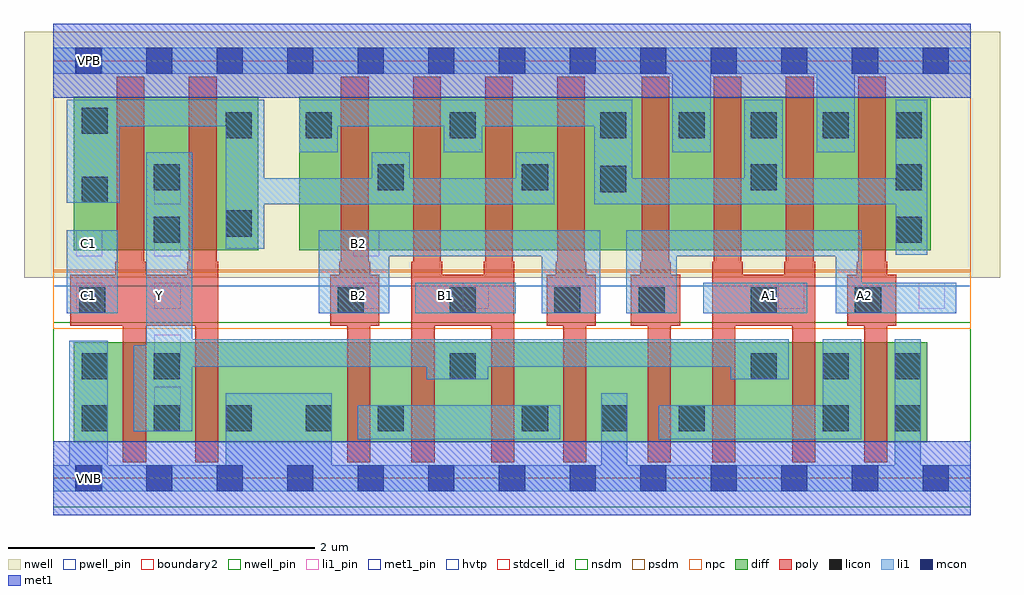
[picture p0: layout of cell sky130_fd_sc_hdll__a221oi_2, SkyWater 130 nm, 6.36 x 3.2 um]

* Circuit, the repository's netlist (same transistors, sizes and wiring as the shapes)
* Copyright 2020 The SkyWater PDK Authors
*
* Licensed under the Apache License, Version 2.0 (the "License");
* you may not use this file except in compliance with the License.
* You may obtain a copy of the License at
*
*     https://www.apache.org/licenses/LICENSE-2.0
*
* Unless required by applicable law or agreed to in writing, software
* distributed under the License is distributed on an "AS IS" BASIS,
* WITHOUT WARRANTIES OR CONDITIONS OF ANY KIND, either express or implied.
* See the License for the specific language governing permissions and
* limitations under the License.
*
* SPDX-License-Identifier: Apache-2.0

.SUBCKT sky130_fd_sc_hdll__a221oi_2 A1 A2 B1 B2 C1 VGND VNB VPB VPWR Y
*.PININFO A1:I A2:I B1:I B2:I C1:I VGND:I VNB:I VPB:I VPWR:I Y:O
MMPA0 pndA A1 VPWR VPB sky130_fd_pr__pfet_01v8_hvt m=2 w=1.0U l=0.18U mult=1 sa=0.265
+ sb=0.265 sd=0.28 area=0.063 perim=1.14
MMPA1 pndA A2 VPWR VPB sky130_fd_pr__pfet_01v8_hvt m=2 w=1.0U l=0.18U mult=1 sa=0.265
+ sb=0.265 sd=0.28 area=0.063 perim=1.14
MMPB0 pndB B1 pndA VPB sky130_fd_pr__pfet_01v8_hvt m=2 w=1.0U l=0.18U mult=1 sa=0.265
+ sb=0.265 sd=0.28 area=0.063 perim=1.14
MMPB1 pndB B2 pndA VPB sky130_fd_pr__pfet_01v8_hvt m=2 w=1.0U l=0.18U mult=1 sa=0.265
+ sb=0.265 sd=0.28 area=0.063 perim=1.14
MMPC0 Y C1 pndB VPB sky130_fd_pr__pfet_01v8_hvt m=2 w=1.0U l=0.18U mult=1 sa=0.265
+ sb=0.265 sd=0.28 area=0.063 perim=1.14
MMNA0 Y A1 sndA1 VNB sky130_fd_pr__nfet_01v8 m=2 w=0.65U l=0.15U mult=1 sa=0.265
+ sb=0.265 sd=0.28 area=0.063 perim=1.14
MMNA1 sndA1 A2 VGND VNB sky130_fd_pr__nfet_01v8 m=2 w=0.65U l=0.15U mult=1 sa=0.265
+ sb=0.265 sd=0.28 area=0.063 perim=1.14
MMNB0 Y B1 sndB1 VNB sky130_fd_pr__nfet_01v8 m=2 w=0.65U l=0.15U mult=1 sa=0.265
+ sb=0.265 sd=0.28 area=0.063 perim=1.14
MMNB1 sndB1 B2 VGND VNB sky130_fd_pr__nfet_01v8 m=2 w=0.65U l=0.15U mult=1 sa=0.265
+ sb=0.265 sd=0.28 area=0.063 perim=1.14
MMNC0 Y C1 VGND VNB sky130_fd_pr__nfet_01v8 m=2 w=0.65U l=0.15U mult=1 sa=0.265
+ sb=0.265 sd=0.28 area=0.063 perim=1.14
.ENDS sky130_fd_sc_hdll__a221oi_2

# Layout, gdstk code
import gdstk
lib = gdstk.Library(unit=1e-6, precision=1e-09)
def R(c, l, rs):  # rectangles x0, y0, x1, y1
    for r in rs: c.add(gdstk.rectangle(r[:2], r[2:], *l))
def A(c, l, x, y, w, h, nx, ny, dx, dy):  # array of equal rectangles
    R(c, l, [(x+i*dx, y+j*dy, x+i*dx+w, y+j*dy+h) for i in range(nx) for j in range(ny)])
def P(c, l, *ps):  # polygons
    for p in ps: c.add(gdstk.Polygon(p, *l))
nwell_pin = (64, 16)
nwell = (64, 20)
diff = (65, 20)
poly = (66, 20)
licon = (66, 44)
li1_pin = (67, 16)
li1 = (67, 20)
mcon = (67, 44)
met1_pin = (68, 16)
met1 = (68, 20)
hvtp = (78, 44)
stdcell_id = (81, 4)
nsdm = (93, 44)
psdm = (94, 20)
npc = (95, 20)
pwell_pin = (122, 16)
boundary2 = (236, 0)

sky130_fd_sc_hdll__a221o = lib.new_cell('sky130_fd_sc_hdll__a221oi_2')
R(sky130_fd_sc_hdll__a221o, nwell_pin, [(0.15,2.635,0.32,2.805)])
R(sky130_fd_sc_hdll__a221o, nwell, [(-0.19,1.305,6.17,2.91)])
R(sky130_fd_sc_hdll__a221o, diff, [(0.135,0.235,5.695,0.885), (0.135,1.485,1.335,2.485), (1.605,1.485,5.72,2.485)])
P(sky130_fd_sc_hdll__a221o, poly, [(1.075,1.41),(1.065,1.41),(1.065,2.615),(0.885,2.615),(0.885,1.41),(0.875,1.41),(0.875,1.325),(0.605,1.325),(0.605,1.41),(0.595,1.41),(0.595,2.615),(0.415,2.615),(0.415,1.41),(0.405,1.41),(0.405,1.325),(0.11,1.325),(0.11,0.995),(0.455,0.995),(0.455,0.105),(0.605,0.105),(0.605,0.995),(0.925,0.995),(0.925,0.105),(1.075,0.105)],
  [(2.125,1.325),(2.065,1.325),(2.065,1.41),(2.055,1.41),(2.055,2.615),(1.875,2.615),(1.875,1.41),(1.865,1.41),(1.865,1.325),(1.805,1.325),(1.805,0.995),(1.915,0.995),(1.915,0.105),(2.065,0.105),(2.065,0.995),(2.125,0.995)],
  [(3.005,1.41),(2.995,1.41),(2.995,2.615),(2.815,2.615),(2.815,1.41),(2.805,1.41),(2.805,1.325),(2.535,1.325),(2.535,1.41),(2.525,1.41),(2.525,2.615),(2.345,2.615),(2.345,1.41),(2.335,1.41),(2.335,0.105),(2.485,0.105),(2.485,0.995),(2.855,0.995),(2.855,0.105),(3.005,0.105)],
  [(3.535,1.325),(3.475,1.325),(3.475,1.41),(3.465,1.41),(3.465,2.615),(3.285,2.615),(3.285,1.41),(3.275,1.41),(3.275,1.325),(3.215,1.325),(3.215,0.995),(3.325,0.995),(3.325,0.105),(3.475,0.105),(3.475,0.995),(3.535,0.995)],
  [(4.085,1.325),(4.025,1.325),(4.025,1.41),(4.015,1.41),(4.015,2.615),(3.835,2.615),(3.835,1.41),(3.825,1.41),(3.825,1.325),(3.765,1.325),(3.765,0.995),(3.875,0.995),(3.875,0.105),(4.025,0.105),(4.025,0.995),(4.085,0.995)],
  [(4.965,1.41),(4.955,1.41),(4.955,2.615),(4.775,2.615),(4.775,1.41),(4.765,1.41),(4.765,1.325),(4.495,1.325),(4.495,1.41),(4.485,1.41),(4.485,2.615),(4.305,2.615),(4.305,1.41),(4.295,1.41),(4.295,0.105),(4.445,0.105),(4.445,0.995),(4.815,0.995),(4.815,0.105),(4.965,0.105)],
  [(5.495,1.325),(5.435,1.325),(5.435,1.41),(5.425,1.41),(5.425,2.615),(5.245,2.615),(5.245,1.41),(5.235,1.41),(5.235,1.325),(5.175,1.325),(5.175,0.995),(5.285,0.995),(5.285,0.105),(5.435,0.105),(5.435,0.995),(5.495,0.995)])
A(sky130_fd_sc_hdll__a221o, licon, 0.185, 0.305, 0.17, 0.17, 3, 1, 0.47, 0)
A(sky130_fd_sc_hdll__a221o, licon, 4.545, 0.645, 0.17, 0.17, 3, 1, 0.47, 0)
A(sky130_fd_sc_hdll__a221o, licon, 5.49, 1.535, 0.17, 0.17, 1, 3, 0, 0.34)
A(sky130_fd_sc_hdll__a221o, licon, 4.075, 2.215, 0.17, 0.17, 3, 1, 0.47, 0)
R(sky130_fd_sc_hdll__a221o, licon, [(1.645,0.305,1.815,0.475), (2.115,0.305,2.285,0.475), (3.055,0.305,3.225,0.475), (3.57,0.305,3.74,0.475), (4.075,0.305,4.245,0.475), (5.015,0.305,5.185,0.475), (5.485,0.305,5.655,0.475), (0.185,0.645,0.355,0.815), (0.655,0.645,0.825,0.815), (2.585,0.645,2.755,0.815), (0.17,1.075,0.34,1.245), (1.855,1.075,2.025,1.245), (2.585,1.075,2.755,1.245), (3.265,1.075,3.435,1.245), (3.815,1.075,3.985,1.245), (4.545,1.075,4.715,1.245), (5.225,1.075,5.395,1.245), (0.655,1.535,0.825,1.705), (1.125,1.575,1.295,1.745), (0.185,1.795,0.355,1.965), (3.565,1.865,3.735,2.035), (0.655,1.875,0.825,2.045), (2.115,1.875,2.285,2.045), (3.055,1.875,3.225,2.045), (4.545,1.875,4.715,2.045), (1.125,2.215,1.295,2.385), (1.645,2.215,1.815,2.385), (2.585,2.215,2.755,2.385), (3.565,2.215,3.735,2.385), (0.185,2.245,0.355,2.415)])
A(sky130_fd_sc_hdll__a221o, li1_pin, 0.66, 0.425, 0.17, 0.17, 1, 5, 0, 0.34)
R(sky130_fd_sc_hdll__a221o, li1_pin, [(0.15,1.105,0.32,1.275), (1.955,1.105,2.125,1.275), (2.67,1.105,2.84,1.275), (4.725,1.105,4.895,1.275), (5.64,1.105,5.81,1.275), (0.15,1.445,0.32,1.615), (1.955,1.445,2.125,1.615)])
R(sky130_fd_sc_hdll__a221o, li1, [(1.985,0.255,3.305,0.475), (0.09,1.075,0.42,1.615), (2.36,1.075,3.015,1.275), (4.235,1.075,4.915,1.275)])
P(sky130_fd_sc_hdll__a221o, li1, [(5.98,2.805),(0,2.805),(0,2.635),(4.035,2.635),(4.035,2.125),(4.285,2.125),(4.285,2.635),(4.975,2.635),(4.975,2.125),(5.225,2.125),(5.225,2.635),(5.98,2.635)],
  [(5.885,1.275),(5.27,1.275),(5.27,1.615),(3.735,1.615),(3.735,1.075),(4.065,1.075),(4.065,1.445),(5.1,1.445),(5.1,1.075),(5.885,1.075)],
  [(5.98,0.085),(5.655,0.085),(5.655,0.905),(5.485,0.905),(5.485,0.085),(3.74,0.085),(3.74,0.555),(3.57,0.555),(3.57,0.085),(1.815,0.085),(1.815,0.555),(1.125,0.555),(1.125,0.085),(0.355,0.085),(0.355,0.895),(0.105,0.895),(0.105,0.085),(0,0.085),(0,-0.085),(5.98,-0.085)],
  [(3.265,2.125),(3.015,2.125),(3.015,1.955),(2.325,1.955),(2.325,2.125),(2.075,2.125),(2.075,1.955),(1.375,1.955),(1.375,2.465),(0.09,2.465),(0.09,1.795),(0.435,1.795),(0.435,2.295),(1.125,2.295),(1.125,1.495),(1.375,1.495),(1.375,1.785),(3.265,1.785)],
  [(3.565,1.615),(1.73,1.615),(1.73,1.075),(2.19,1.075),(2.19,1.445),(3.185,1.445),(3.185,1.075),(3.565,1.075)],
  [(4.795,0.905),(0.905,0.905),(0.905,2.125),(0.605,2.125),(0.605,0.865),(0.525,0.865),(0.525,0.305),(0.905,0.305),(0.905,0.725),(2.435,0.725),(2.435,0.645),(2.835,0.645),(2.835,0.725),(4.415,0.725),(4.415,0.645),(4.795,0.645)],
  [(5.265,0.905),(5.015,0.905),(5.015,0.475),(3.945,0.475),(3.945,0.255),(5.265,0.255)],
  [(5.695,2.465),(5.49,2.465),(5.49,1.955),(4.755,1.955),(4.755,2.465),(4.505,2.465),(4.505,1.955),(3.775,1.955),(3.775,2.465),(1.605,2.465),(1.605,2.125),(1.855,2.125),(1.855,2.295),(2.545,2.295),(2.545,2.125),(2.795,2.125),(2.795,2.295),(3.525,2.295),(3.525,1.785),(5.49,1.785),(5.49,1.455),(5.695,1.455)])
A(sky130_fd_sc_hdll__a221o, mcon, 0.145, -0.085, 0.17, 0.17, 13, 2, 0.46, 2.72)
R(sky130_fd_sc_hdll__a221o, met1_pin, [(0.15,-0.085,0.32,0.085), (0.15,2.635,0.32,2.805)])
R(sky130_fd_sc_hdll__a221o, met1, [(0,-0.24,5.98,0.24), (0,2.48,5.98,2.96)])
R(sky130_fd_sc_hdll__a221o, hvtp, [(0,1.25,5.98,2.72)])
R(sky130_fd_sc_hdll__a221o, stdcell_id, [(0,0,5.98,2.72)])
R(sky130_fd_sc_hdll__a221o, nsdm, [(0,-0.19,5.98,1.015)])
R(sky130_fd_sc_hdll__a221o, psdm, [(0,1.355,5.98,2.91)])
R(sky130_fd_sc_hdll__a221o, npc, [(0,0.975,5.98,1.345)])
R(sky130_fd_sc_hdll__a221o, pwell_pin, [(0.15,-0.085,0.32,0.085)])
R(sky130_fd_sc_hdll__a221o, boundary2, [(0,0,5.98,2.72)])
sky130_fd_sc_hdll__a221o.add(gdstk.Label('B2', (1.99,1.53), layer=67, texttype=5))
sky130_fd_sc_hdll__a221o.add(gdstk.Label('C1', (0.23,1.19), layer=67, texttype=5))
sky130_fd_sc_hdll__a221o.add(gdstk.Label('A2', (5.29,1.19), layer=67, texttype=5))
sky130_fd_sc_hdll__a221o.add(gdstk.Label('A1', (4.665,1.19), layer=67, texttype=5))
sky130_fd_sc_hdll__a221o.add(gdstk.Label('B1', (2.555,1.19), layer=67, texttype=5))
sky130_fd_sc_hdll__a221o.add(gdstk.Label('B2', (1.99,1.19), layer=67, texttype=5))
sky130_fd_sc_hdll__a221o.add(gdstk.Label('Y', (0.695,1.19), layer=67, texttype=5))
sky130_fd_sc_hdll__a221o.add(gdstk.Label('C1', (0.23,1.53), layer=67, texttype=5))
sky130_fd_sc_hdll__a221o.add(gdstk.Label('VNB', (0.235,0), layer=64, texttype=59))
sky130_fd_sc_hdll__a221o.add(gdstk.Label('VPB', (0.235,2.72), layer=64, texttype=5))
sky130_fd_sc_hdll__a221o.add(gdstk.Label('VGND', (0.23,0), layer=68, texttype=5))
sky130_fd_sc_hdll__a221o.add(gdstk.Label('VPWR', (0.235,2.72), layer=68, texttype=5))
sky130_fd_sc_hdll__a221o.add(gdstk.Label('a221oi_2', (0,0), layer=83, texttype=44))

lib.write_gds('sky130_fd_sc_hdll__a221oi_2.gds')
